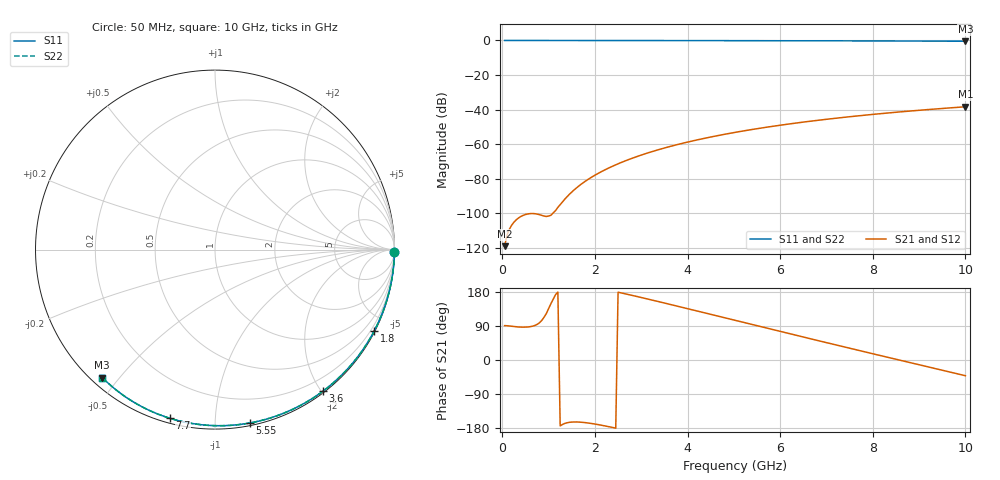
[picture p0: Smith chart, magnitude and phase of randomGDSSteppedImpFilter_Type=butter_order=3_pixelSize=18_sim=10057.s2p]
! freq	dB(S11)	phase(S11)	dB(S12)	phase(S12)
!  dB(S21)	phase(S21)	dB(S22)	phase(S22)
!S-par simulation data
#  GHz  S  DB  R 50
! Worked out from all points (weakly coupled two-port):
!   200 points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, 50 MHz to 10 GHz, reference 50 ohm
!   highest |S21| = -38.42 dB at 10 GHz (marker M1); lowest = -119.2 dB at 50 MHz (marker M2)
!   lowest |S11| = -0.4 dB at 10 GHz (marker M3), VSWR 39.00, Z = 1.54 - j22.6 ohm
!   |S11| at or under -10 dB: nowhere
!   |S22| runs from -0.4 to 0.0 dB; largest |S21 - S12| = 0
!   S11 on the Smith chart (normalised r, x): 50 MHz: open; 1.8 GHz: 0.04, -4.18; 3.6 GHz: 0.02, -2.02; 5.55 GHz: 0.02, -1.22; 7.7 GHz: 0.02, -0.77; 10 GHz: 0.03, -0.45
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0.05  -0.00 -0.8  -119.16 90.7  -119.16 90.7  -0.00 -0.8
0.9  -0.02 -13.6  -101.70 112.6  -101.70 112.6  -0.02 -13.6
1.75  -0.03 -26.2  -82.35 -164.7  -82.35 -164.7  -0.03 -26.2
1.8  -0.03 -26.9  -81.41 -165.4  -81.41 -165.4  -0.03 -26.9
1.85  -0.04 -27.7  -80.52 -166.2  -80.52 -166.2  -0.04 -27.7
1.9  -0.04 -28.4  -79.67 -167.1  -79.67 -167.1  -0.04 -28.4
2.05  -0.04 -30.6  -77.29 -170.1  -77.29 -170.1  -0.04 -30.6
2.25  -0.04 -33.5  -74.49 -174.7  -74.49 -174.7  -0.04 -33.5
2.45  -0.05 -36.4  -72.02 -179.8  -72.02 -179.8  -0.05 -36.4
2.65  -0.05 -39.3  -69.80 174.8  -69.80 174.8  -0.05 -39.3
3  -0.06 -44.2  -66.39 165.0  -66.39 165.0  -0.06 -44.2
3.4  -0.07 -49.9  -63.06 153.3  -63.06 153.3  -0.07 -49.9
3.6  -0.07 -52.6  -61.57 147.4  -61.57 147.4  -0.07 -52.7
4.3  -0.09 -62.2  -57.06 126.5  -57.06 126.5  -0.09 -62.2
5.05  -0.11 -72.2  -53.13 104.0  -53.13 104.0  -0.11 -72.2
5.55  -0.13 -78.6  -50.90 89.0  -50.90 89.0  -0.13 -78.7
6.1  -0.15 -85.6  -48.72 72.5  -48.72 72.5  -0.15 -85.6
6.7  -0.18 -93.0  -46.62 54.7  -46.62 54.7  -0.18 -93.0
7.7  -0.24 -105.0  -43.62 25.2  -43.62 25.2  -0.24 -105.0
8.35  -0.29 -112.6  -41.95 6.3  -41.95 6.3  -0.29 -112.6
9.15  -0.36 -121.8  -40.12 -16.9  -40.12 -16.9  -0.36 -121.8
10  -0.45 -131.4  -38.42 -41.5  -38.42 -41.5  -0.45 -131.4
